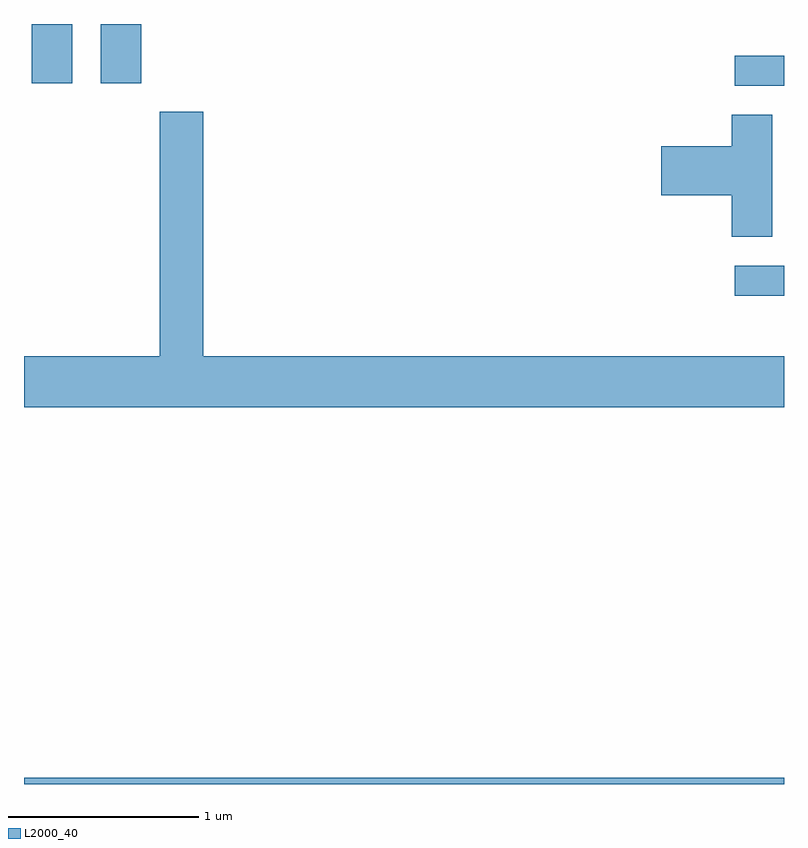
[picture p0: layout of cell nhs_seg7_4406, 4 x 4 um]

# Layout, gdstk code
import gdstk
lib = gdstk.Library(unit=1e-6, precision=1e-09)
def R(c, l, rs):  # rectangles x0, y0, x1, y1
    for r in rs: c.add(gdstk.rectangle(r[:2], r[2:], *l))
def P(c, l, *ps):  # polygons
    for p in ps: c.add(gdstk.Polygon(p, *l))
L2000_40 = (2000, 40)

nhs_seg7_4406 = lib.new_cell('nhs_seg7_4406')
R(nhs_seg7_4406, L2000_40, [(319.611,1792.252,323.611,1792.284), (323.353,1794.821,323.611,1794.979), (323.353,1795.926,323.611,1796.084), (319.651,1795.941,319.864,1796.252), (320.016,1795.941,320.229,1796.252)])
P(nhs_seg7_4406, L2000_40, [(323.611,1794.504),(320.554,1794.504),(320.554,1795.789),(320.326,1795.789),(320.326,1794.504),(319.611,1794.504),(319.611,1794.236),(323.611,1794.236)],
  [(323.549,1795.774),(323.336,1795.774),(323.336,1795.609),(322.966,1795.609),(322.966,1795.351),(323.336,1795.351),(323.336,1795.131),(323.549,1795.131)])

lib.write_gds('nhs_seg7_4406.gds')
